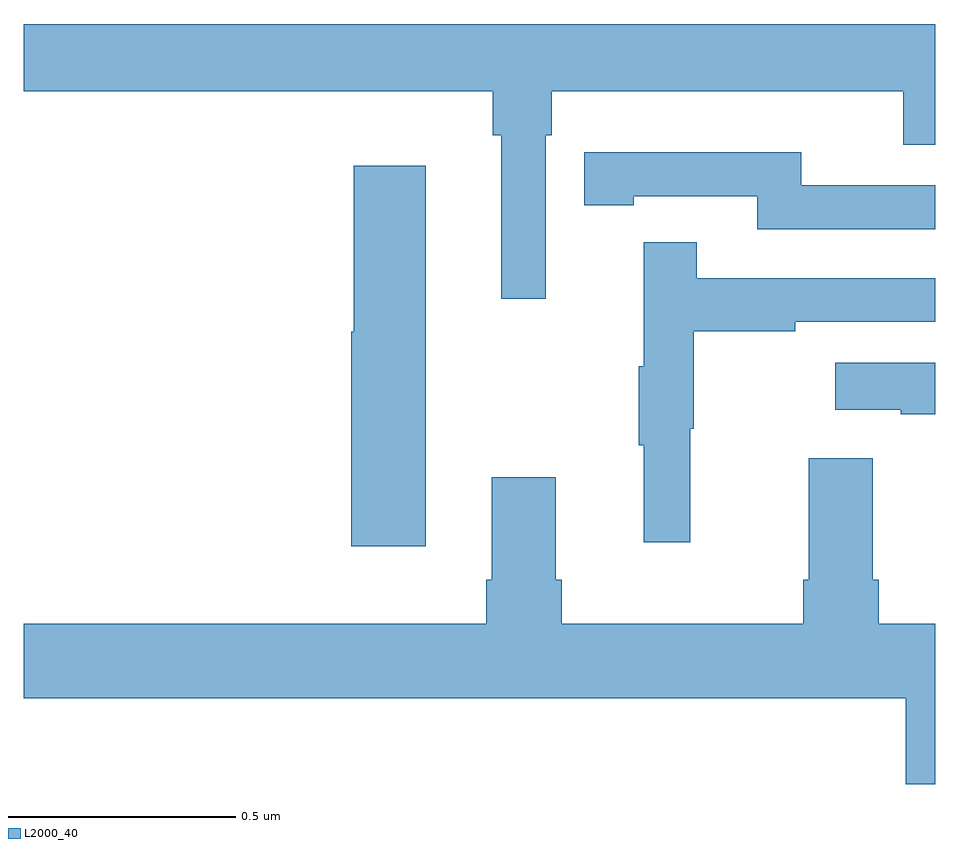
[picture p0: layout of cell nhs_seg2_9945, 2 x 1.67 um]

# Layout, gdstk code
import gdstk
lib = gdstk.Library(unit=1e-6, precision=1e-09)
def P(c, l, *ps):  # polygons
    for p in ps: c.add(gdstk.Polygon(p, *l))
L2000_40 = (2000, 40)

nhs_seg2_9945 = lib.new_cell('nhs_seg2_9945')
P(nhs_seg2_9945, L2000_40, [(236.145,631.556),(236.159,631.556),(236.159,631.652),(236.93,631.652),(236.93,631.535),(237,631.535),(237,631.8),(235,631.8),(235,631.652),(236.029,631.652),(236.029,631.556),(236.048,631.556),(236.048,631.197),(236.145,631.197)],
  [(237,631.446),(236.706,631.446),(236.706,631.519),(236.338,631.519),(236.338,631.518),(236.23,631.518),(236.23,631.402),(236.338,631.402),(236.338,631.422),(236.61,631.422),(236.61,631.35),(237,631.35)],
  [(235.882,631.489),(235.724,631.489),(235.724,631.125),(235.718,631.125),(235.718,630.654),(235.882,630.654)],
  [(236.462,630.912),(236.47,630.912),(236.47,631.126),(236.693,631.126),(236.693,631.146),(237,631.146),(237,631.242),(236.477,631.242),(236.477,631.321),(236.36,631.321),(236.36,631.049),(236.349,631.049),(236.349,630.875),(236.36,630.875),(236.36,630.663),(236.462,630.663)],
  [(237,631.057),(236.781,631.057),(236.781,630.953),(236.924,630.953),(236.924,630.943),(237,630.943)],
  [(237,630.484),(236.876,630.484),(236.876,630.58),(236.863,630.58),(236.863,630.847),(236.723,630.847),(236.723,630.58),(236.711,630.58),(236.711,630.484),(236.18,630.484),(236.18,630.58),(236.167,630.58),(236.167,630.805),(236.027,630.805),(236.027,630.58),(236.015,630.58),(236.015,630.484),(235,630.484),(235,630.32),(236.936,630.32),(236.936,630.132),(237,630.132)])

lib.write_gds('nhs_seg2_9945.gds')
